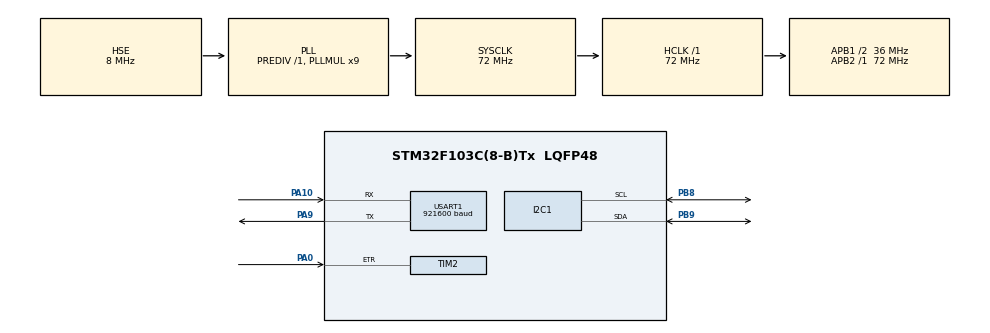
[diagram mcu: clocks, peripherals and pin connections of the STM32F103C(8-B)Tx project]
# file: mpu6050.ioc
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I2C1.I2C_Mode=I2C_Fast
Mcu.Family=STM32F1
Mcu.Name=STM32F103C(8-B)Tx
Mcu.Package=LQFP48
NVIC.PriorityGroup=NVIC_PRIORITYGROUP_4
NVIC.TIM2_IRQn=true\:2\:0\:true\:false\:true\:true\:true
NVIC.USART1_IRQn=true\:3\:0\:true\:false\:true\:true\:true
PA0-WKUP.Signal=S_TIM2_CH1_ETR
PA10.Mode=Asynchronous
PA10.Signal=USART1_RX
PA13.Mode=Serial_Wire
PA13.Signal=SYS_JTMS-SWDIO
PA14.Mode=Serial_Wire
PA14.Signal=SYS_JTCK-SWCLK
PA9.Mode=Asynchronous
PA9.Signal=USART1_TX
PB8.Mode=I2C
PB8.Signal=I2C1_SCL
PB9.Mode=I2C
PB9.Signal=I2C1_SDA
PD0-OSC_IN.Mode=HSE-External-Oscillator
PD0-OSC_IN.Signal=RCC_OSC_IN
PD1-OSC_OUT.Mode=HSE-External-Oscillator
PD1-OSC_OUT.Signal=RCC_OSC_OUT
ProjectManager.HeapSize=0x200
ProjectManager.StackSize=0x400
ProjectManager.TargetToolchain=STM32CubeIDE
RCC.AHBFreq_Value=72000000
RCC.APB1CLKDivider=RCC_HCLK_DIV2
RCC.APB1Freq_Value=36000000
RCC.APB1TimFreq_Value=72000000
RCC.APB2Freq_Value=72000000
RCC.APB2TimFreq_Value=72000000
RCC.HCLKFreq_Value=72000000
RCC.PLLMUL=RCC_PLL_MUL9
RCC.PLLSourceVirtual=RCC_PLLSOURCE_HSE
RCC.SYSCLKFreq_VALUE=72000000
RCC.SYSCLKSource=RCC_SYSCLKSOURCE_PLLCLK
RCC.USBFreq_Value=72000000
SH.S_TIM2_CH1_ETR.0=TIM2_ETR,ClockSourceETR_Mode2
TIM2.Period=19999
TIM2.Prescaler=3599
USART1.BaudRate=921600
USART1.VirtualMode=VM_ASYNC
board=custom

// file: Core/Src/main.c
/* USER CODE BEGIN Header */
/**
  ******************************************************************************
  * @file           : main.c
  * @brief          : Main program body
  ******************************************************************************
  * @attention
  *
  * <h2><center>&copy; Copyright (c) 2023 STMicroelectronics.
  * All rights reserved.</center></h2>
  *
  * This software component is licensed by ST under BSD 3-Clause license,
  * the "License"; You may not use this file except in compliance with the
  * License. You may obtain a copy of the License at:
  *                        opensource.org/licenses/BSD-3-Clause
  *
  ******************************************************************************
  */
/* USER CODE END Header */
#include "main.h"
#include "i2c.h"
#include "tim.h"
#include "usart.h"
#include "gpio.h"

/* USER CODE BEGIN Includes */
#include <stdio.h>
#include <mpu6050.h>
#include <string.h>
/* USER CODE END Includes */

/* USER CODE BEGIN PM */
#define FRAME  "\n%s%06d %s%06d %s%06d \r"    //"\n%s%06d"!="\n"
#define SIGN(X) ((X)>=0)?" ":"-"
#define ABS(X) ((X)>=0)?((X)):(-(X))
/* USER CODE END PM */

/* USER CODE BEGIN PV */
	MPU6050_t MPU6050;
	uint32_t time_example 	= 10; // 10ms
	uint32_t time_current 	= 0;

	char data[50];

//	char str_data[11];
//	char str_title[50] 		="\nRoll_x  Pitch_y";
//
//	char frame [26];

/* USER CODE END PV */

void SystemClock_Config(void);
/* USER CODE BEGIN PFP */

void convert_double_to_string (double value, char *str_data); //fomat double {ttt-xx.xxxx}
char convert_int_to_char (int int_value);
void creat_frame (double roll, double pitch, double yaw, char *frame);
// |\n|+/_|123456| |+/-|123456| |+/-|123456| |\r| ==> 26 byte
void clear_frame (char *frame);

/* USER CODE END PFP */

/* USER CODE BEGIN 0 */
//HAL_I2C_IsDeviceReady(hi2c, 0x68, 1,100);

/* USER CODE END 0 */

int main(void)
{

  /* MCU Configuration--------------------------------------------------------*/

  /* Reset of all peripherals, Initializes the Flash interface and the Systick. */
  HAL_Init();

  /* Configure the system clock */
  SystemClock_Config();

  /* Initialize all configured peripherals */
  MX_GPIO_Init();
  MX_I2C1_Init();
  MX_USART1_UART_Init();
  MX_TIM2_Init();
  /* USER CODE BEGIN 2 */
//  HAL_TIM_Base_Start_IT(&htim2);
//  char a[10]= "\n";
//  HAL_UART_Transmit(&huart1, &str_title, strlen(str_title)-2, 500);
//  HAL_UART_Transmit(&huart1, &a, strlen(a), 500);
  while (MPU6050_Init(&hi2c1) == 1);
  /* USER CODE END 2 */

  /* Infinite loop */
  while (1)
  {

    /* USER CODE BEGIN 3 */
	  if (HAL_GetTick()-time_current >= time_example)
	  {
		  time_current = HAL_GetTick();
		  MPU6050_Read_All(&hi2c1,&MPU6050);
		  int datax = MPU6050.KalmanAngleX*1000.0;
		  int datay = MPU6050.KalmanAngleY*1000.0;
		  int dataz = 0;

		  sprintf(data,FRAME,SIGN(datax),ABS(datax),SIGN(datay),ABS(datay),SIGN(dataz),ABS(dataz));

		  HAL_UART_Transmit(&huart1,(uint8_t*)data, strlen(data), 5);

//		  clear_frame (&frame);
//		  creat_frame (MPU6050.KalmanAngleX, MPU6050.KalmanAngleY, 0, &frame);
//		  HAL_UART_Transmit(&huart1, &frame, 26, 500);

//		  convert_double_to_string (MPU6050.KalmanAngleX, &str_data);
//		  HAL_UART_Transmit(&huart1, &str_data, strlen(str_data)-2, 500);
//
//		  convert_double_to_string (MPU6050.KalmanAngleY, &str_data);
//		  HAL_UART_Transmit(&huart1, &str_data, strlen(str_data)-2, 500);
//
//		  HAL_UART_Transmit(&huart1, &a, strlen(a), 500);

	  }

  }
  /* USER CODE END 3 */
}

void SystemClock_Config(void)
{
  RCC_OscInitTypeDef RCC_OscInitStruct = {0};
  RCC_ClkInitTypeDef RCC_ClkInitStruct = {0};

  /** Initializes the RCC Oscillators according to the specified parameters
  * in the RCC_OscInitTypeDef structure.
  */
  RCC_OscInitStruct.OscillatorType = RCC_OSCILLATORTYPE_HSE;
  RCC_OscInitStruct.HSEState = RCC_HSE_ON;
  RCC_OscInitStruct.HSEPredivValue = RCC_HSE_PREDIV_DIV1;
  RCC_OscInitStruct.HSIState = RCC_HSI_ON;
  RCC_OscInitStruct.PLL.PLLState = RCC_PLL_ON;
  RCC_OscInitStruct.PLL.PLLSource = RCC_PLLSOURCE_HSE;
  RCC_OscInitStruct.PLL.PLLMUL = RCC_PLL_MUL9;
  if (HAL_RCC_OscConfig(&RCC_OscInitStruct) != HAL_OK)
  {
    Error_Handler();
  }
  /** Initializes the CPU, AHB and APB buses clocks
  */
  RCC_ClkInitStruct.ClockType = RCC_CLOCKTYPE_HCLK|RCC_CLOCKTYPE_SYSCLK
                              |RCC_CLOCKTYPE_PCLK1|RCC_CLOCKTYPE_PCLK2;
  RCC_ClkInitStruct.SYSCLKSource = RCC_SYSCLKSOURCE_PLLCLK;
  RCC_ClkInitStruct.AHBCLKDivider = RCC_SYSCLK_DIV1;
  RCC_ClkInitStruct.APB1CLKDivider = RCC_HCLK_DIV2;
  RCC_ClkInitStruct.APB2CLKDivider = RCC_HCLK_DIV1;

  if (HAL_RCC_ClockConfig(&RCC_ClkInitStruct, FLASH_LATENCY_2) != HAL_OK)
  {
    Error_Handler();
  }
}

/* USER CODE BEGIN 4 */
//void clear_frame (char *frame)
//{
//	for (int i=0; i<26; i++)
//	{
//		frame[i] = '0';
//	}
//}
//void creat_frame (double roll, double pitch, double yaw, char *frame)
//{
//	int x,y,z;
//	int index_x = 8;
//	int index_y = 16;
//	int index_z = 24;
//	int temp;
//
//	frame [0] 	= '\n';
//	frame [25]	= '\r';
//	frame [8]	= ' ';
//	frame [16]	= ' ';
//	frame [24]	= ' ';
//
//
//	roll 	*= 1000;
//	pitch 	*= 1000;
//	yaw		*= 1000;
//
//	x = roll;
//	y = pitch;
//	z = yaw;
//
////	if (roll==0) frame[7] = '0';
////	if (pitch==0) frame[15] = '0';
////	if (yaw==0) frame[23] = '0';
//
//
//	if (x<0)
//	{
//		frame[1] = '-';
//		x *= -1;
//	} else if (x==0) frame[7] = '0';
//	else frame[1] = ' ';
//
//	if (y<0)
//	{
//		frame[9] = '-';
//		y *= -1;
//	} else if (y==0) frame[15] = '0';
//	else frame[9] = ' ';
//
//	if (z<0)
//	{
//		frame[17] = '-';
//		z *= -1;
//	} else if (z==0) frame[23] = '0';
//	else frame[17] = ' ';
//
//	while (x)
//	{
//		index_x --;
//		temp = x%10;
//		frame [index_x] = convert_int_to_char (temp);
//		x /= 10;
//	}
//	while (y)
//		{
//			index_y --;
//			temp = y%10;
//			frame [index_y] = convert_int_to_char (temp);
//			y /= 10;
//		}
//	while (z)
//		{
//			index_z --;
//			temp = z%10;
//			frame [index_z] = convert_int_to_char (temp);
//			z /= 10;
//		}
//}
//void convert_double_to_string (double value, char *str_data)
//{
//	  int whole, decimal;
//	  decimal = value;
//	  whole = (value - decimal)*10000;
//	  if (whole <0)
//	  {
//		  whole *= (-1);
//		  sprintf(str_data," -%5d.%06d",decimal, whole);
//	  }
//	  sprintf(str_data," %5d.%06d",decimal, whole); //Convert to string
//}
//
//char convert_int_to_char (int int_value)
//{
//    switch (int_value)
//    {
//        case 0:
//            return 0x30;
//            break;
//        case 1:
//            return 0x31;
//            break;
//        case 2:
//            return 0x32;
//            break;
//        case 3:
//            return 0x33;
//            break;
//        case 4:
//            return 0x34;
//            break;
//        case 5:
//            return 0x35;
//            break;
//        case 6:
//            return 0x36;
//            break;
//        case 7:
//            return 0x37;
//            break;
//        case 8:
//            return 0x38;
//            break;
//        case 9:
//            return 0x39;
//            break;
//        default:
//            break;
//    }
//}
/* USER CODE END 4 */

void Error_Handler(void)
{
  __disable_irq();
  while (1)
  {
  }
}

/************************ (C) COPYRIGHT STMicroelectronics *****END OF FILE****/
